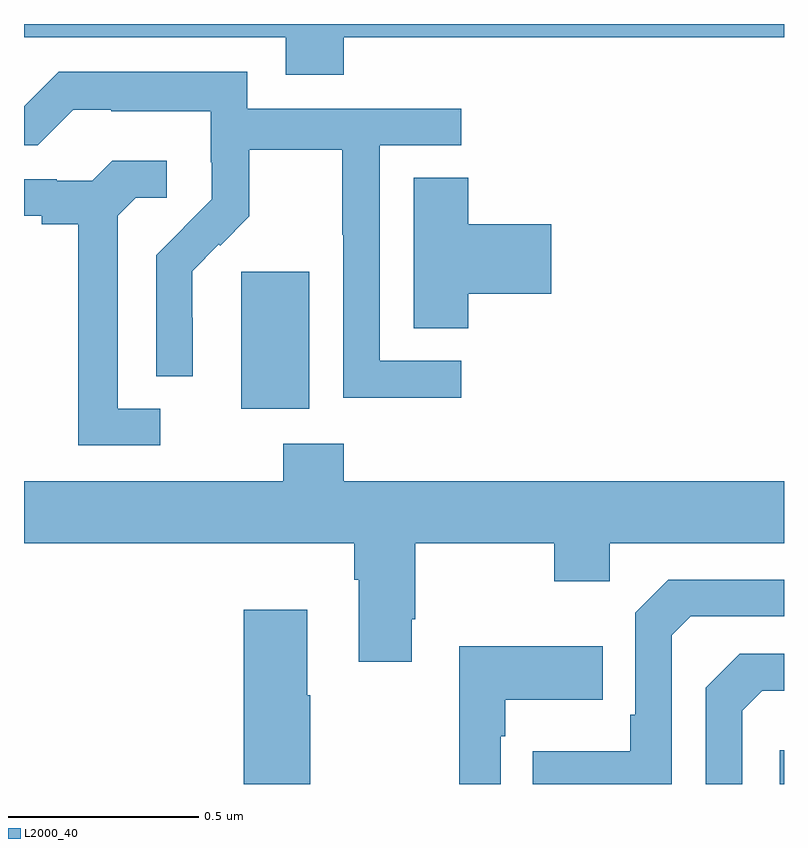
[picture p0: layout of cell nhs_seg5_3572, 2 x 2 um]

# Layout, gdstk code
import gdstk
lib = gdstk.Library(unit=1e-6, precision=1e-09)
def R(c, l, rs):  # rectangles x0, y0, x1, y1
    for r in rs: c.add(gdstk.rectangle(r[:2], r[2:], *l))
def P(c, l, *ps):  # polygons
    for p in ps: c.add(gdstk.Polygon(p, *l))
L2000_40 = (2000, 40)

nhs_seg5_3572 = lib.new_cell('nhs_seg5_3572')
R(nhs_seg5_3572, L2000_40, [(160.989,850.799,161,850.888), (159.572,851.786,159.751,852.147)])
P(nhs_seg5_3572, L2000_40, [(159.842,852.764),(161,852.764),(161,852.799),(159,852.799),(159,852.764),(159.689,852.764),(159.689,852.665),(159.842,852.665)],
  [(160.15,851.913),(159.936,851.913),(159.936,852.48),(160.15,852.48),(160.15,852.576),(159.588,852.576),(159.588,852.673),(159.091,852.673),(159,852.582),(159,852.48),(159.036,852.48),(159.129,852.573),(159.229,852.573),(159.229,852.569),(159.492,852.569),(159.492,852.435),(159.494,852.435),(159.494,852.338),(159.42,852.264),(159.421,852.263),(159.348,852.19),(159.348,851.872),(159.444,851.872),(159.444,852.026),(159.443,852.026),(159.443,852.149),(159.513,852.219),(159.516,852.216),(159.593,852.293),(159.593,852.468),(159.838,852.468),(159.838,852.244),(159.84,852.244),(159.84,851.815),(160.15,851.815)],
  [(159.358,851.787),(159.247,851.787),(159.247,852.295),(159.294,852.342),(159.376,852.342),(159.376,852.439),(159.232,852.439),(159.18,852.387),(159.086,852.387),(159.086,852.39),(159,852.39),(159,852.294),(159.047,852.294),(159.047,852.272),(159.143,852.272),(159.143,851.691),(159.358,851.691)],
  [(160.169,852.089),(160.387,852.089),(160.387,852.272),(160.169,852.272),(160.169,852.395),(160.025,852.395),(160.025,851.998),(160.169,851.998)],
  [(160.021,851.233),(160.029,851.233),(160.029,851.432),(160.396,851.432),(160.396,851.333),(160.542,851.333),(160.542,851.432),(161,851.432),(161,851.596),(159.842,851.596),(159.842,851.695),(159.682,851.695),(159.682,851.596),(159,851.596),(159,851.432),(159.869,851.432),(159.869,851.336),(159.881,851.336),(159.881,851.121),(160.021,851.121)],
  [(160.704,851.19),(160.755,851.241),(161,851.241),(161,851.337),(160.695,851.337),(160.608,851.25),(160.608,850.981),(160.596,850.981),(160.596,850.885),(160.339,850.885),(160.339,850.799),(160.704,850.799)],
  [(159.753,851.033),(159.745,851.033),(159.745,851.257),(159.578,851.257),(159.578,850.799),(159.753,850.799)],
  [(160.254,850.925),(160.267,850.925),(160.267,851.021),(160.523,851.021),(160.523,851.161),(160.146,851.161),(160.146,850.799),(160.254,850.799)],
  [(160.89,850.992),(160.943,851.045),(161,851.045),(161,851.142),(160.884,851.142),(160.794,851.052),(160.794,850.799),(160.89,850.799)])

lib.write_gds('nhs_seg5_3572.gds')
